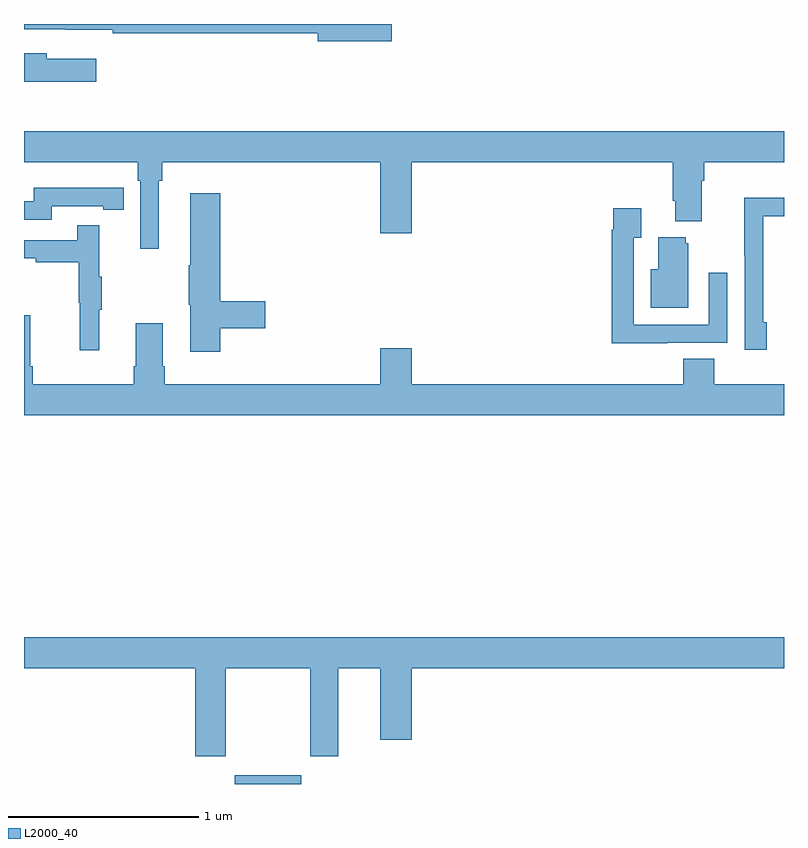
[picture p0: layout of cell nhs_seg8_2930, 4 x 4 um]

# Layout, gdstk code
import gdstk
lib = gdstk.Library(unit=1e-6, precision=1e-09)
def R(c, l, rs):  # rectangles x0, y0, x1, y1
    for r in rs: c.add(gdstk.rectangle(r[:2], r[2:], *l))
def P(c, l, *ps):  # polygons
    for p in ps: c.add(gdstk.Polygon(p, *l))
L2000_40 = (2000, 40)

nhs_seg8_2930 = lib.new_cell('nhs_seg8_2930')
R(nhs_seg8_2930, L2000_40, [(296.108,1107.9,296.458,1107.946)])
P(nhs_seg8_2930, L2000_40, [(296.935,1111.9),(295,1111.9),(295,1111.872),(295.216,1111.872),(295.216,1111.871),(295.468,1111.871),(295.468,1111.852),(296.546,1111.852),(296.546,1111.81),(296.935,1111.81)],
  [(295.381,1111.717),(295.12,1111.717),(295.12,1111.746),(295,1111.746),(295,1111.595),(295.381,1111.595)],
  [(295.708,1111.076),(295.727,1111.076),(295.727,1111.172),(296.876,1111.172),(296.876,1110.798),(297.04,1110.798),(297.04,1111.172),(298.415,1111.172),(298.415,1110.97),(298.427,1110.97),(298.427,1110.863),(298.567,1110.863),(298.567,1111.076),(298.58,1111.076),(298.58,1111.172),(299,1111.172),(299,1111.336),(295,1111.336),(295,1111.172),(295.598,1111.172),(295.598,1111.076),(295.611,1111.076),(295.611,1110.717),(295.708,1110.717)],
  [(295.146,1110.942),(295.418,1110.942),(295.418,1110.922),(295.526,1110.922),(295.526,1111.038),(295.418,1111.038),(295.418,1111.039),(295.05,1111.039),(295.05,1110.966),(295,1110.966),(295,1110.87),(295.146,1110.87)],
  [(296.033,1110.298),(296.269,1110.298),(296.269,1110.44),(296.033,1110.44),(296.033,1111.009),(295.874,1111.009),(295.874,1110.629),(295.867,1110.629),(295.867,1110.423),(295.874,1110.423),(295.874,1110.174),(296.033,1110.174)],
  [(298.909,1110.33),(298.89,1110.33),(298.89,1110.888),(299,1110.888),(299,1110.986),(298.792,1110.986),(298.792,1110.679),(298.794,1110.679),(298.794,1110.186),(298.909,1110.186)],
  [(298.385,1110.222),(298.701,1110.222),(298.701,1110.592),(298.605,1110.592),(298.605,1110.318),(298.209,1110.318),(298.209,1110.775),(298.249,1110.775),(298.249,1110.931),(298.101,1110.931),(298.101,1110.818),(298.093,1110.818),(298.093,1110.221),(298.385,1110.221)],
  [(295.397,1110.395),(295.408,1110.395),(295.408,1110.569),(295.397,1110.569),(295.397,1110.841),(295.279,1110.841),(295.279,1110.762),(295,1110.762),(295,1110.666),(295.063,1110.666),(295.063,1110.646),(295.287,1110.646),(295.287,1110.432),(295.294,1110.432),(295.294,1110.183),(295.397,1110.183)],
  [(298.495,1110.747),(298.484,1110.747),(298.484,1110.778),(298.337,1110.778),(298.337,1110.61),(298.298,1110.61),(298.298,1110.407),(298.495,1110.407)],
  [(299,1110.004),(298.634,1110.004),(298.634,1110.137),(298.469,1110.137),(298.469,1110.004),(297.04,1110.004),(297.04,1110.193),(296.876,1110.193),(296.876,1110.004),(295.742,1110.004),(295.742,1110.1),(295.729,1110.1),(295.729,1110.325),(295.589,1110.325),(295.589,1110.1),(295.577,1110.1),(295.577,1110.004),(295.046,1110.004),(295.046,1110.1),(295.033,1110.1),(295.033,1110.367),(295,1110.367),(295,1109.84),(299,1109.84)],
  [(296.061,1108.508),(296.506,1108.508),(296.506,1108.047),(296.653,1108.047),(296.653,1108.508),(296.876,1108.508),(296.876,1108.134),(297.04,1108.134),(297.04,1108.508),(299,1108.508),(299,1108.672),(295,1108.672),(295,1108.508),(295.901,1108.508),(295.901,1108.047),(296.061,1108.047)])

lib.write_gds('nhs_seg8_2930.gds')
